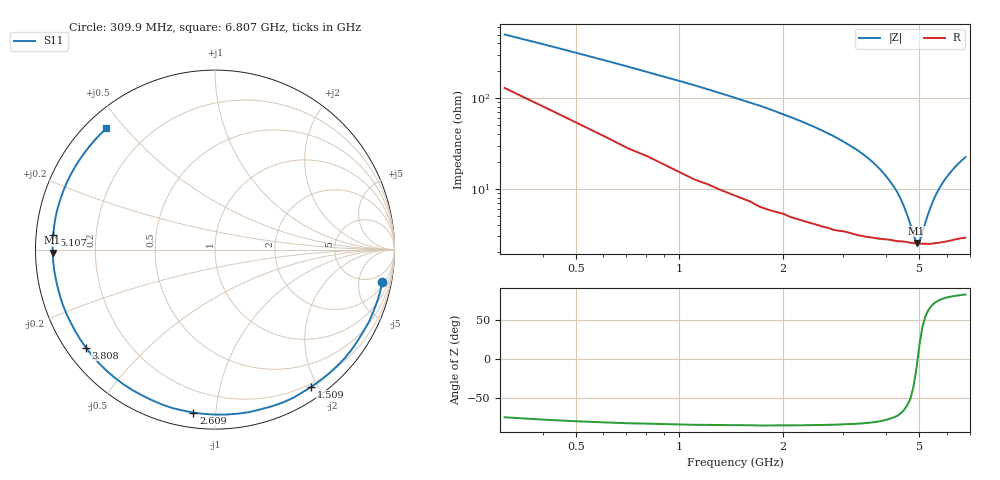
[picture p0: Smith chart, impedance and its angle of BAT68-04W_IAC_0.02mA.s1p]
! Infineon Technologies  Discrete & RF Semiconductors
! BAT68-04W
! IAC = 0.02 mA
! One-Port S-Parameters
# Hz  S  MA  R  50
!f  S11
!Hz  Mag  Ang
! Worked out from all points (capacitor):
!   66 points, 309.9 MHz to 6.807 GHz, reference 50 ohm
!   read as one part to ground: C = 1.02 pF near 309.9 MHz
!   lowest |Z| = 2.54 ohm at 4.908 GHz (marker M1)
!   series resonance near 4.943 GHz, so ESL is about 1 nH
!   S11 on the Smith chart (normalised r, x): 309.9 MHz: 3, -10; 1.509 GHz: 0.16, -1.92; 2.609 GHz: 0.08, -0.87; 3.808 GHz: 0.06, -0.34; 5.107 GHz: 0.05, +0.04; 6.807 GHz: 0.06, +0.44
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3.0985e8  0.9504 -11.0
5.0975e8  0.9485 -18.1
7.0965e8  0.9474 -25.2
1.0095e9  0.9434 -36.1
1.2094e9  0.9399 -43.4
1.50925e9  0.9342 -54.9
1.70915e9  0.9339 -62.1
2.009e9  0.9254 -74.1
2.10895e9  0.9253 -77.9
2.30885e9  0.9213 -85.8
2.6087e9  0.9163 -97.5
2.8086e9  0.9143 -105.2
3.0085e9  0.9092 -113.2
3.2084e9  0.908 -120.6
3.4083e9  0.9064 -128.1
3.6082e9  0.9046 -135.5
3.8081e9  0.903 -142.8
4.10795e9  0.9009 -153.4
4.4078e9  0.9015 -163.3
4.70765e9  0.9033 -172.7
4.90755e9  0.9048 -178.9
5.10745e9  0.9052 174.9
5.2074e9  0.9055 172.0
5.50725e9  0.9062 163.4
5.8071e9  0.906 155.3
6.007e9  0.9057 150.2
6.4068e9  0.9055 140.7
6.8066e9  0.9074 132.0
